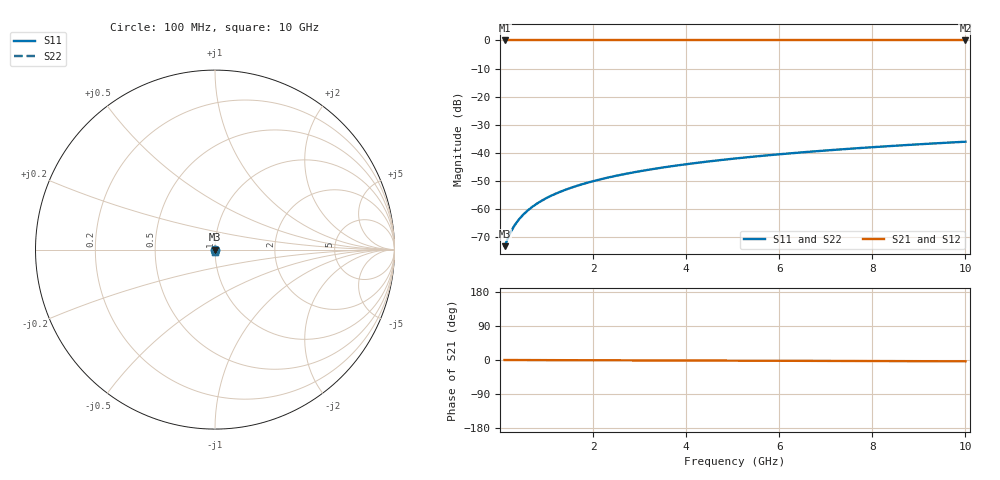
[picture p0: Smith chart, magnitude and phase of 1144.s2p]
# Hz S RI R 50.00
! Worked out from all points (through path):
!   100 points, 100 MHz to 10 GHz, reference 50 ohm
!   highest |S21| = 0.00 dB at 100 MHz (marker M1); lowest = 0.0 dB at 10 GHz (marker M2)
!   lowest |S11| = -73.1 dB at 100 MHz (marker M3), VSWR 1.00, Z = 50 - j0.0157 ohm
!   |S11| at or under -10 dB: start of sweep to end of sweep
!   |S22| runs from -73.1 to -36.0 dB; largest |S21 - S12| = 0
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1e8  0.000154 -0.000157  0.9998 -0.000598  0.9998 -0.000598  0.000154 -0.000157
2e8  0.000155 -0.000314  0.9998 -0.0012  0.9998 -0.0012  0.000155 -0.000314
3e8  0.000155 -0.000471  0.9998 -0.00179  0.9998 -0.00179  0.000155 -0.000471
4e8  0.000154 -0.000628  0.9998 -0.00239  0.9998 -0.00239  0.000154 -0.000628
5e8  0.000154 -0.000786  0.9998 -0.00299  0.9998 -0.00299  0.000154 -0.000786
6e8  0.000153 -0.000943  0.9998 -0.00359  0.9998 -0.00359  0.000153 -0.000943
7e8  0.000152 -0.0011  0.9998 -0.00419  0.9998 -0.00419  0.000152 -0.0011
9e8  0.000149 -0.00141  0.9998 -0.00538  0.9998 -0.00538  0.000149 -0.00141
1e9  0.000147 -0.00157  0.9998 -0.00598  0.9998 -0.00598  0.000147 -0.00157
1.2e9  0.000143 -0.00189  0.9998 -0.00718  0.9998 -0.00718  0.000143 -0.00189
1.5e9  0.000135 -0.00236  0.9998 -0.00897  0.9998 -0.00897  0.000135 -0.00236
1.8e9  0.000125 -0.00283  0.9998 -0.0108  0.9998 -0.0108  0.000125 -0.00283
2.1e9  0.000114 -0.0033  0.9997 -0.0126  0.9997 -0.0126  0.000114 -0.0033
2.5e9  9.62e-05 -0.00393  0.9997 -0.015  0.9997 -0.015  9.62e-05 -0.00393
2.9e9  7.53e-05 -0.00456  0.9997 -0.0174  0.9997 -0.0174  7.53e-05 -0.00456
3.4e9  4.48e-05 -0.00535  0.9996 -0.0204  0.9996 -0.0204  4.48e-05 -0.00535
4.2e9  -1.4e-05 -0.00662  0.9995 -0.0252  0.9995 -0.0252  -1.4e-05 -0.00662
5.1e9  -9.48e-05 -0.00804  0.9993 -0.0306  0.9993 -0.0306  -9.48e-05 -0.00804
5.9e9  -0.00018 -0.00931  0.9991 -0.0354  0.9991 -0.0354  -0.00018 -0.00931
6.7e9  -0.000277 -0.0106  0.9989 -0.0402  0.9989 -0.0402  -0.000277 -0.0106
8.4e9  -0.000525 -0.0133  0.9984 -0.0504  0.9984 -0.0504  -0.000525 -0.0133
1e10  -0.00081 -0.0158  0.9978 -0.0601  0.9978 -0.0601  -0.00081 -0.0158
